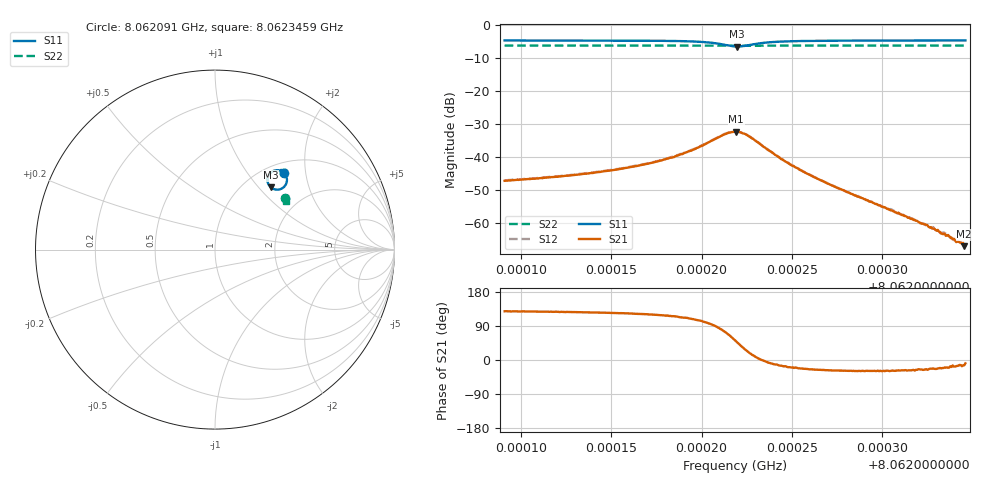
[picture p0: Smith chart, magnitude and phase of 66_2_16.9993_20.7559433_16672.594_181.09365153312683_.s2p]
#  HZ  S  RI  R  50.00
! Rohde & Schwarz Vector Network Analyzer
! Rohde-Schwarz,ZNB20-2Port,1311601062101988,3.16
! Created: UTC 3/20/2024, 10:55:01 PM
! freq[Hz]  re:S11  im:S11  re:S21  im:S21  re:S12  im:S12  re:S22  im:S22
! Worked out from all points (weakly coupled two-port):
!   401 points, 8.062091 GHz to 8.0623459 GHz, reference 50 ohm
!   highest |S21| = -32.35 dB at 8.0622191 GHz (marker M1); lowest = -66.9 dB at 8.0623453 GHz (marker M2)
!   lowest |S11| = -6.6 dB at 8.0622197 GHz (marker M3), VSWR 2.74, Z = 65.9 + j58.3 ohm
!   |S11| at or under -10 dB: nowhere
!   |S22| runs from -6.4 to -6.3 dB; largest |S21 - S12| = 0.0019
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8.06209105e9  0.3834 0.429  -0.00273 0.00343  -0.00254 0.00361  0.3886 0.285
8.06213373e9  0.389 0.4226  -0.00325 0.00449  -0.00303 0.00471  0.3902 0.2828
8.06215731e9  0.3933 0.4163  -0.00373 0.00569  -0.00342 0.00597  0.391 0.2814
8.06217642e9  0.3976 0.4067  -0.00417 0.00766  -0.00375 0.00797  0.3915 0.28
8.0621949e9  0.4008 0.3853  -0.00392 0.0121  -0.00336 0.0125  0.3921 0.2781
8.06220445e9  0.394 0.3619  -0.00175 0.0169  -0.000615 0.0171  0.3918 0.2769
8.06221337e9  0.359 0.3352  0.00669 0.0213  0.00828 0.0211  0.39 0.2758
8.06221847e9  0.3205 0.3405  0.0148 0.019  0.0163 0.0181  0.3886 0.2765
8.06221911e9  0.3159 0.3432  0.0157 0.0183  0.0171 0.0172  0.3885 0.2767
8.06221975e9  0.3114 0.3465  0.0167 0.0174  0.0179 0.0163  0.3883 0.2767
8.06222484e9  0.2926 0.3824  0.0197 0.00911  0.0203 0.00783  0.3884 0.2784
8.06223504e9  0.3128 0.4307  0.0139 -0.000753  0.0139 -0.00169  0.3902 0.2797
8.06224905e9  0.3424 0.4424  0.00728 -0.00253  0.00724 -0.003  0.3919 0.279
8.06226116e9  0.3554 0.4418  0.00468 -0.00214  0.00458 -0.00247  0.3929 0.2782
8.06228155e9  0.3668 0.4387  0.00254 -0.00139  0.00248 -0.00154  0.394 0.277
8.06230385e9  0.3734 0.4356  0.00141 -0.00079  0.00139 -0.000846  0.395 0.2759
8.0623236e9  0.3773 0.4333  0.000872 -0.000405  0.000836 -0.000451  0.3958 0.2746
8.06233124e9  0.3785 0.4326  0.000698 -0.000282  0.000711 -0.000299  0.3961 0.2743
8.06233506e9  0.3791 0.4323  0.000608 -0.000222  0.000633 -0.000281  0.3962 0.274
8.06233825e9  0.3796 0.4318  0.000576 -0.000192  0.000548 -0.000201  0.3962 0.2739
8.06234526e9  0.3803 0.4312  0.000439 -0.000108  0.000439 -0.000114  0.3964 0.2735
8.0623459e9  0.3805 0.4312  0.000456 -7.17e-05  0.000453 -8.74e-05  0.3965 0.2735
